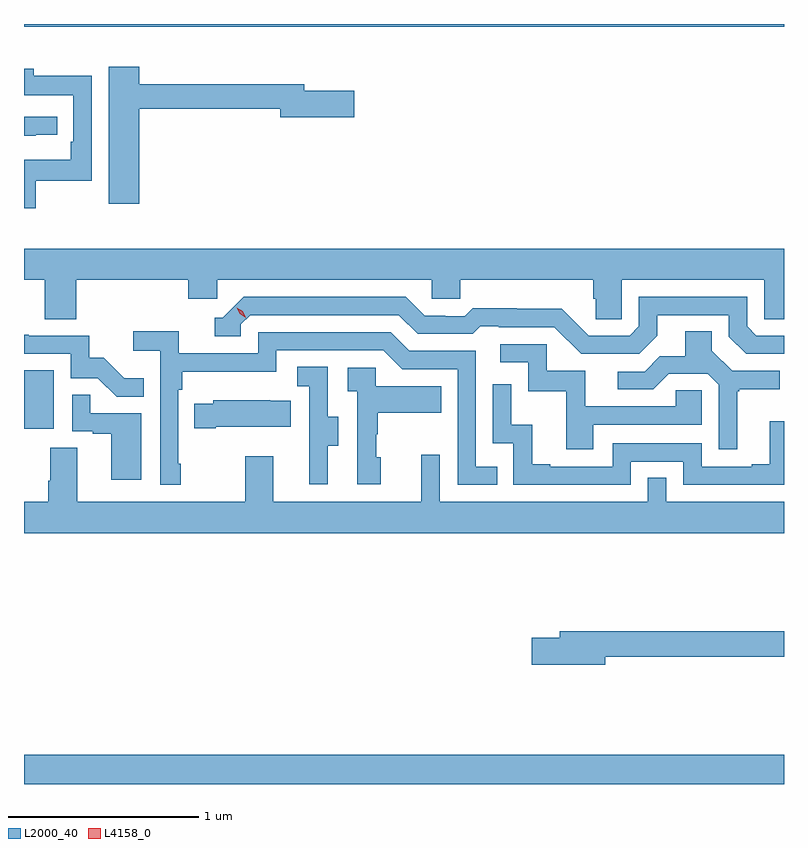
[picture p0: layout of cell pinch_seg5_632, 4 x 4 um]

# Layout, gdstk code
import gdstk
lib = gdstk.Library(unit=1e-6, precision=1e-09)
def R(c, l, rs):  # rectangles x0, y0, x1, y1
    for r in rs: c.add(gdstk.rectangle(r[:2], r[2:], *l))
def P(c, l, *ps):  # polygons
    for p in ps: c.add(gdstk.Polygon(p, *l))
L2000_40 = (2000, 40)
L4158_0 = (4158, 0)

pinch_seg5_632 = lib.new_cell('pinch_seg5_632')
R(pinch_seg5_632, L2000_40, [(1065.76,858.103,1069.76,858.256), (1065.76,859.974,1065.916,860.281), (1065.76,862.088,1069.76,862.103)])
P(pinch_seg5_632, L2000_40, [(1066.366,861.658),(1067.108,861.658),(1067.108,861.611),(1067.497,861.611),(1067.497,861.753),(1067.236,861.753),(1067.236,861.787),(1066.366,861.787),(1066.366,861.877),(1066.205,861.877),(1066.205,861.156),(1066.366,861.156)],
  [(1065.823,861.279),(1066.116,861.279),(1066.116,861.83),(1065.811,861.83),(1065.811,861.868),(1065.76,861.868),(1065.76,861.729),(1066.02,861.729),(1066.02,861.484),(1066.007,861.484),(1066.007,861.388),(1065.76,861.388),(1065.76,861.132),(1065.823,861.132)],
  [(1065.821,861.519),(1065.934,861.519),(1065.934,861.615),(1065.76,861.615),(1065.76,861.514),(1065.821,861.514)],
  [(1066.034,860.756),(1066.625,860.756),(1066.625,860.658),(1066.776,860.658),(1066.776,860.756),(1067.907,860.756),(1067.907,860.658),(1068.057,860.658),(1068.057,860.756),(1068.755,860.756),(1068.755,860.658),(1068.769,860.658),(1068.769,860.548),(1068.906,860.548),(1068.906,860.756),(1069.656,860.756),(1069.656,860.548),(1069.76,860.548),(1069.76,860.92),(1065.76,860.92),(1065.76,860.756),(1065.869,860.756),(1065.869,860.548),(1066.034,860.548)],
  [(1069.093,860.461),(1069.093,860.571),(1069.47,860.571),(1069.47,860.457),(1069.56,860.367),(1069.76,860.367),(1069.76,860.463),(1069.614,860.463),(1069.566,860.511),(1069.566,860.667),(1068.996,860.667),(1068.996,860.511),(1068.948,860.463),(1068.732,860.463),(1068.59,860.605),(1068.354,860.605),(1068.354,860.608),(1068.121,860.608),(1068.079,860.565),(1067.976,860.565),(1067.976,860.568),(1067.869,860.568),(1067.77,860.667),(1066.917,860.667),(1066.806,860.556),(1066.763,860.556),(1066.763,860.46),(1066.902,860.46),(1066.902,860.523),(1066.95,860.571),(1067.733,860.571),(1067.832,860.472),(1068.121,860.472),(1068.16,860.511),(1068.259,860.511),(1068.259,860.508),(1068.552,860.508),(1068.693,860.367),(1068.999,860.367)],
  [(1066.585,859.789),(1066.572,859.789),(1066.572,860.177),(1066.592,860.177),(1066.592,860.273),(1067.088,860.273),(1067.088,860.385),(1067.652,860.385),(1067.751,860.286),(1068.042,860.286),(1068.042,859.677),(1068.251,859.677),(1068.251,859.773),(1068.138,859.773),(1068.138,860.382),(1067.788,860.382),(1067.689,860.481),(1066.992,860.481),(1066.992,860.37),(1066.574,860.37),(1066.574,860.486),(1066.335,860.486),(1066.335,860.384),(1066.476,860.384),(1066.476,859.677),(1066.585,859.677)],
  [(1069.513,860.169),(1069.525,860.169),(1069.525,860.18),(1069.738,860.18),(1069.738,860.277),(1069.488,860.277),(1069.381,860.384),(1069.381,860.486),(1069.241,860.486),(1069.241,860.354),(1069.106,860.354),(1069.026,860.274),(1068.885,860.274),(1068.885,860.181),(1069.072,860.181),(1069.153,860.262),(1069.359,860.262),(1069.416,860.205),(1069.416,859.866),(1069.513,859.866)],
  [(1066.391,860.239),(1066.287,860.239),(1066.18,860.346),(1066.104,860.346),(1066.104,860.463),(1065.785,860.463),(1065.785,860.468),(1065.76,860.468),(1065.76,860.367),(1066.005,860.367),(1066.005,860.238),(1066.149,860.238),(1066.247,860.14),(1066.391,860.14)],
  [(1068.757,859.995),(1069.326,859.995),(1069.326,860.175),(1069.189,860.175),(1069.189,860.091),(1068.715,860.091),(1068.715,860.277),(1068.51,860.277),(1068.51,860.418),(1068.267,860.418),(1068.267,860.322),(1068.414,860.322),(1068.414,860.169),(1068.613,860.169),(1068.613,859.866),(1068.757,859.866)],
  [(1067.359,859.882),(1067.413,859.882),(1067.413,860.037),(1067.358,860.037),(1067.358,860.3),(1067.199,860.3),(1067.199,860.197),(1067.262,860.197),(1067.262,859.893),(1067.261,859.893),(1067.261,859.68),(1067.359,859.68)],
  [(1067.638,859.824),(1067.613,859.824),(1067.613,859.943),(1067.623,859.943),(1067.623,860.057),(1067.957,860.057),(1067.957,860.197),(1067.61,860.197),(1067.61,860.295),(1067.463,860.295),(1067.463,860.171),(1067.514,860.171),(1067.514,859.68),(1067.638,859.68)],
  [(1068.954,859.8),(1069.23,859.8),(1069.23,859.677),(1069.76,859.677),(1069.76,860.011),(1069.685,860.011),(1069.685,859.786),(1069.589,859.786),(1069.589,859.773),(1069.326,859.773),(1069.326,859.896),(1068.858,859.896),(1068.858,859.773),(1068.529,859.773),(1068.529,859.786),(1068.434,859.786),(1068.434,859.994),(1068.324,859.994),(1068.324,860.206),(1068.228,860.206),(1068.228,859.896),(1068.336,859.896),(1068.336,859.677),(1068.954,859.677)],
  [(1066.378,860.055),(1066.109,860.055),(1066.109,860.153),(1066.014,860.153),(1066.014,859.959),(1066.121,859.959),(1066.121,859.947),(1066.22,859.947),(1066.22,859.704),(1066.378,859.704)],
  [(1066.768,859.982),(1067.165,859.982),(1067.165,860.119),(1067.057,860.119),(1067.057,860.122),(1066.755,860.122),(1066.755,860.104),(1066.657,860.104),(1066.657,859.975),(1066.768,859.975)],
  [(1069.76,859.588),(1069.14,859.588),(1069.14,859.715),(1069.044,859.715),(1069.044,859.588),(1067.949,859.588),(1067.949,859.837),(1067.852,859.837),(1067.852,859.588),(1067.071,859.588),(1067.071,859.828),(1066.924,859.828),(1066.924,859.588),(1066.039,859.588),(1066.039,859.874),(1065.899,859.874),(1065.899,859.7),(1065.887,859.7),(1065.887,859.588),(1065.76,859.588),(1065.76,859.424),(1069.76,859.424)],
  [(1068.82,858.772),(1069.76,858.772),(1069.76,858.908),(1068.581,858.908),(1068.581,858.872),(1068.432,858.872),(1068.432,858.73),(1068.82,858.73)])
P(pinch_seg5_632, L4158_0, [(1066.926,860.557),(1066.895,860.577),(1066.879,860.609),(1066.879,860.61),(1066.879,860.61),(1066.91,860.59),(1066.926,860.557),(1066.926,860.557)])

lib.write_gds('pinch_seg5_632.gds')
